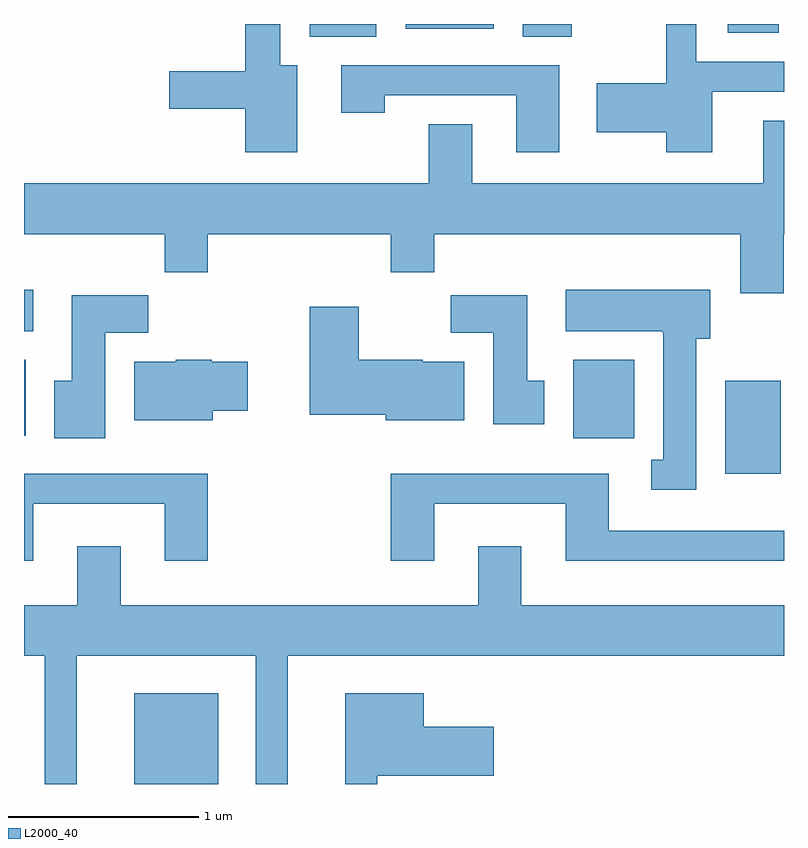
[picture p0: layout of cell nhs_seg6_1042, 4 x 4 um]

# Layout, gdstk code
import gdstk
lib = gdstk.Library(unit=1e-6, precision=1e-09)
def R(c, l, rs):  # rectangles x0, y0, x1, y1
    for r in rs: c.add(gdstk.rectangle(r[:2], r[2:], *l))
def P(c, l, *ps):  # polygons
    for p in ps: c.add(gdstk.Polygon(p, *l))
L2000_40 = (2000, 40)

nhs_seg6_1042 = lib.new_cell('nhs_seg6_1042')
R(nhs_seg6_1042, L2000_40, [(216.191,1638.162,216.634,1638.639), (219.301,1639.796,219.594,1640.284), (218.501,1639.981,218.824,1640.394), (215.611,1639.996,215.619,1640.394), (215.611,1640.546,215.659,1640.764), (217.116,1642.096,217.464,1642.162), (218.236,1642.096,218.494,1642.162), (219.316,1642.116,219.584,1642.162), (217.621,1642.136,218.084,1642.162)])
P(nhs_seg6_1042, L2000_40, [(219.234,1641.806),(219.611,1641.806),(219.611,1641.964),(219.149,1641.964),(219.149,1642.162),(218.991,1642.162),(218.991,1641.849),(218.626,1641.849),(218.626,1641.591),(218.991,1641.591),(218.991,1641.486),(219.234,1641.486)],
  [(217.049,1641.944),(216.959,1641.944),(216.959,1642.162),(216.776,1642.162),(216.776,1641.914),(216.376,1641.914),(216.376,1641.716),(216.776,1641.716),(216.776,1641.486),(217.049,1641.486)],
  [(218.429,1641.944),(217.281,1641.944),(217.281,1641.696),(217.509,1641.696),(217.509,1641.786),(218.201,1641.786),(218.201,1641.486),(218.429,1641.486)],
  [(219.609,1641.056),(219.611,1641.056),(219.611,1641.654),(219.501,1641.654),(219.501,1641.324),(217.969,1641.324),(217.969,1641.634),(217.741,1641.634),(217.741,1641.324),(215.611,1641.324),(215.611,1641.056),(216.351,1641.056),(216.351,1640.856),(216.579,1640.856),(216.579,1641.056),(217.541,1641.056),(217.541,1640.856),(217.769,1640.856),(217.769,1641.056),(219.381,1641.056),(219.381,1640.746),(219.609,1640.746)],
  [(219.149,1640.506),(219.224,1640.506),(219.224,1640.764),(218.461,1640.764),(218.461,1640.546),(218.97,1640.546),(218.97,1640.54),(218.976,1640.54),(218.976,1639.869),(218.913,1639.869),(218.913,1639.711),(219.149,1639.711)],
  [(218.349,1640.284),(218.259,1640.284),(218.259,1640.734),(217.856,1640.734),(217.856,1640.536),(218.081,1640.536),(218.081,1640.056),(218.349,1640.056)],
  [(216.039,1640.536),(216.264,1640.536),(216.264,1640.734),(215.861,1640.734),(215.861,1640.284),(215.771,1640.284),(215.771,1639.981),(216.039,1639.981)],
  [(217.929,1640.384),(217.71,1640.384),(217.71,1640.394),(217.374,1640.394),(217.374,1640.674),(217.116,1640.674),(217.116,1640.106),(217.516,1640.106),(217.516,1640.076),(217.929,1640.076)],
  [(216.604,1640.126),(216.789,1640.126),(216.789,1640.384),(216.6,1640.384),(216.6,1640.394),(216.41,1640.394),(216.41,1640.384),(216.191,1640.384),(216.191,1640.076),(216.604,1640.076)],
  [(217.769,1639.636),(218.461,1639.636),(218.461,1639.336),(219.611,1639.336),(219.611,1639.494),(218.689,1639.494),(218.689,1639.794),(217.541,1639.794),(217.541,1639.336),(217.769,1639.336)],
  [(215.659,1639.636),(216.351,1639.636),(216.351,1639.336),(216.579,1639.336),(216.579,1639.794),(215.611,1639.794),(215.611,1639.336),(215.659,1639.336)],
  [(215.889,1638.836),(216.831,1638.836),(216.831,1638.162),(216.999,1638.162),(216.999,1638.836),(219.611,1638.836),(219.611,1639.104),(218.229,1639.104),(218.229,1639.414),(218.001,1639.414),(218.001,1639.104),(216.119,1639.104),(216.119,1639.414),(215.891,1639.414),(215.891,1639.104),(215.611,1639.104),(215.611,1638.836),(215.721,1638.836),(215.721,1638.162),(215.889,1638.162)],
  [(217.469,1638.206),(218.084,1638.206),(218.084,1638.464),(217.714,1638.464),(217.714,1638.639),(217.301,1638.639),(217.301,1638.162),(217.469,1638.162)])

lib.write_gds('nhs_seg6_1042.gds')
